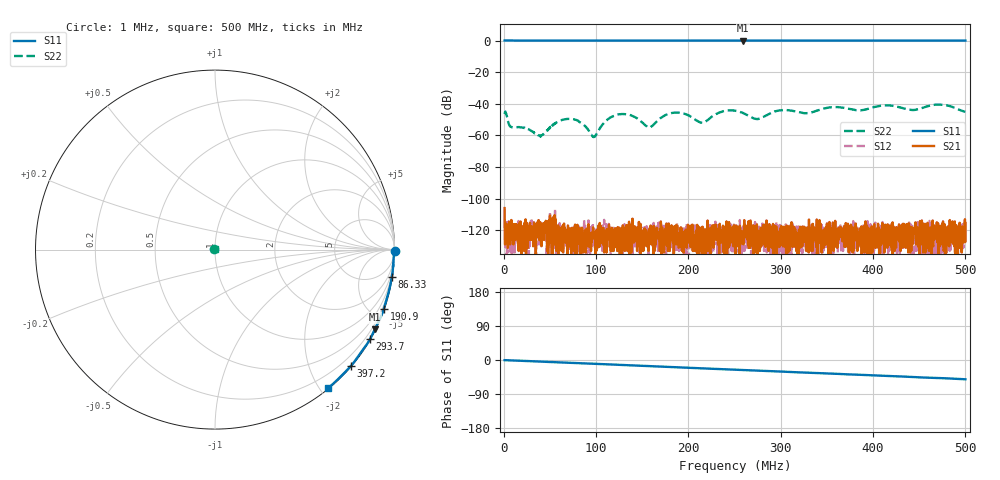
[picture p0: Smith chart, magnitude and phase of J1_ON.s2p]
! MS46122B
! 1746301/73750021
! 8/7/2023 2:50:37 PM
! C:\USERS\SPEGWAL\DOWNLOADS\SAURABH\REACH\NODES\FRONT END\MEASUREMENTS\MEASURED S-PARAMETER_07-08-2023\MS-3\P2_J4\J1_ON.S2P
! CHANNEL.1
! TR.MEASUREMENT
! CORRECTED.DATA
# GHZ S RI R 50.0
! FREQ.GHZ  S11RE  S11IM  S21RE  S21IM  S12RE  S12IM  S22RE  S22IM
!; PortSelection: Port_12
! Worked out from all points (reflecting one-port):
!   2001 points, 1 MHz to 500 MHz, reference 50 ohm
!   lowest |S11| = 0.0 dB at 259.5 MHz (marker M1), VSWR 350.54, Z = 2.72 - j213 ohm
!   phase of S11 starts at -0 deg and turns -50 deg over the sweep
!   S11 on the Smith chart (normalised r, x): 1 MHz: open; 86.33 MHz: 0, -13; 190.9 MHz: 0.05, -5.86; 293.7 MHz: 0.02, -3.75; 397.2 MHz: 0.01, -2.72; 500 MHz: 0.01, -2.10
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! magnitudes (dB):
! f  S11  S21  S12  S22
! 1 MHz  0.0  -105.9  -112.8  -46.5
! 8.236 MHz  0.0  -113.4  -116.2  -54.6
! 38.67 MHz  0.0  -121.7  -118.4  -60.0
! 63.87 MHz  0.0  -128.9  -121.0  -50.1
! 84.33 MHz  0.0  -125.9  -122.8  -52.3
! 86.33 MHz  0.0  -124.4  -128.9  -53.2
! 97.56 MHz  0.0  -124.4  -128.9  -61.0
! 123 MHz  0.0  -133.0  -131.0  -46.8
! 156.9 MHz  0.0  -133.0  -137.0  -54.9
! 167.4 MHz  0.0  -122.8  -125.4  -50.2
! 190.9 MHz  0.0  -130.5  -134.0  -45.7
! 215.1 MHz  0.0  -120.9  -128.9  -52.0
! 250.5 MHz  0.0  -117.3  -134.0  -44.3
! 259.5 MHz  0.0  -128.9  -119.5  -45.9
! 274.7 MHz  0.0  -127.7  -130.0  -49.6
! 293.7 MHz  0.0  -117.3  -120.1  -44.8
! 333.8 MHz  0.0  -128.9  -125.9  -45.4
! 397.2 MHz  0.0  -121.3  -116.1  -42.7
! 416.9 MHz  0.0  -121.9  -124.0  -41.0
! 443.6 MHz  0.0  -119.7  -124.3  -43.9
! 475.1 MHz  0.0  -115.6  -122.1  -40.5
! 500 MHz  0.0  -115.3  -120.0  -45.1
